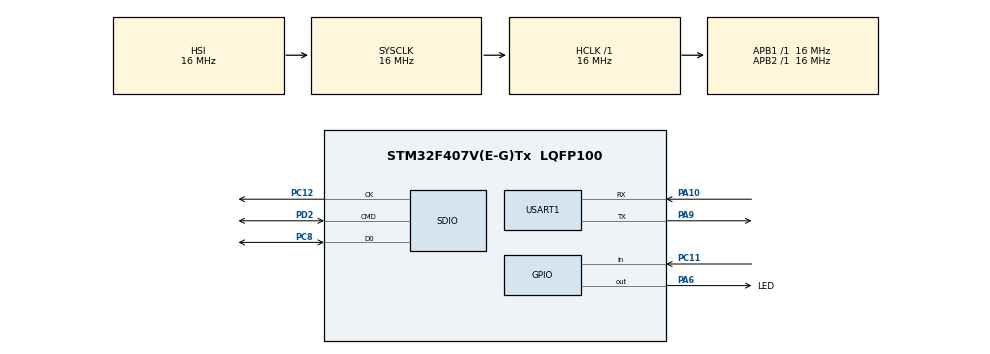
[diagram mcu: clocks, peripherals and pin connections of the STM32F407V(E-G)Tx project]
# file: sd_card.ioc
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FATFS.BSP.number=1
FATFS._FS_EXFAT=1
FATFS._MAX_SS=4096
FATFS._USE_CHMOD=1
FATFS._USE_EXPAND=1
FATFS._USE_FIND=1
FATFS._USE_FORWARD=1
FATFS._USE_LABEL=1
FATFS._USE_LFN=1
FATFS0.BSP.STBoard=false
FATFS0.BSP.api=Unknown
FATFS0.BSP.instance=PC11
FATFS0.BSP.ip=GPIO
FATFS0.BSP.mode=Input
FATFS0.BSP.name=Detect_SDIO
FATFS0.BSP.solution=PC11
Mcu.Family=STM32F4
Mcu.Name=STM32F407V(E-G)Tx
Mcu.Package=LQFP100
NVIC.PriorityGroup=NVIC_PRIORITYGROUP_4
PA10.Mode=Asynchronous
PA10.Signal=USART1_RX
PA6.GPIO_Label=LED
PA6.Signal=GPIO_Output
PA9.Mode=Asynchronous
PA9.Signal=USART1_TX
PC11.Signal=GPIO_Input
PC12.Mode=SD_1_bit
PC12.Signal=SDIO_CK
PC8.Mode=SD_1_bit
PC8.Signal=SDIO_D0
PD2.Mode=SD_1_bit
PD2.Signal=SDIO_CMD
ProjectManager.HeapSize=0x200
ProjectManager.StackSize=0x400
ProjectManager.TargetToolchain=STM32CubeIDE
RCC.AHBFreq_Value=16000000
RCC.APB1Freq_Value=16000000
RCC.APB2Freq_Value=16000000
RCC.CortexFreq_Value=16000000
RCC.HSE_VALUE=25000000
RCC.HSI_VALUE=16000000
RCC.LSE_VALUE=32768
RCC.SYSCLKFreq_VALUE=16000000
RCC.VCOOutputFreq_Value=192000000
SDIO.ClockDiv=10
USART1.VirtualMode=VM_ASYNC
VP_FATFS_VS_SDIO.Mode=SDIO
board=custom

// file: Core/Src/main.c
/* USER CODE BEGIN Header */
/**
  ******************************************************************************
  * @file           : main.c
  * @brief          : Main program body
  ******************************************************************************
  * @attention
  *
  * Copyright (c) 2025 STMicroelectronics.
  * All rights reserved.
  *
  * This software is licensed under terms that can be found in the LICENSE file
  * in the root directory of this software component.
  * If no LICENSE file comes with this software, it is provided AS-IS.
  *
  ******************************************************************************
  */
/* USER CODE END Header */
#include "main.h"
#include "fatfs.h"

/* USER CODE BEGIN Includes */
#include <stdio.h>
#include <string.h>
/* USER CODE END Includes */

SD_HandleTypeDef hsd;

UART_HandleTypeDef huart1;

/* USER CODE BEGIN PV */
char msg[] = "A\r\n";
/* USER CODE END PV */

void SystemClock_Config(void);
static void MX_GPIO_Init(void);
static void MX_SDIO_SD_Init(void);
static void MX_USART1_UART_Init(void);
/* USER CODE BEGIN PFP */

uint8_t BSP_SD_IsDetected(void)
{
  __IO uint8_t status = SD_PRESENT;

  return status;
}

int _write(int file, char *ptr, int len)
{
	if (HAL_UART_Transmit(&huart1, (uint8_t *)ptr, len, HAL_MAX_DELAY) != HAL_OK)
		return -1;
	else
		return len;
}
/* USER CODE END PFP */

int main(void)
{

  /* MCU Configuration--------------------------------------------------------*/

  /* Reset of all peripherals, Initializes the Flash interface and the Systick. */
  HAL_Init();

  /* Configure the system clock */
  SystemClock_Config();

  /* Initialize all configured peripherals */
  MX_GPIO_Init();
  MX_SDIO_SD_Init();
  MX_USART1_UART_Init();
  MX_FATFS_Init();
  /* USER CODE BEGIN 2 */
  printf("Block Size: %lu\r\n", hsd.SdCard.BlockSize);
  printf("Block Number: %lu\r\n", hsd.SdCard.BlockNbr);
  printf("Card Size: %lu\r\n", (hsd.SdCard.BlockSize * hsd.SdCard.BlockNbr) / 1024);

  FRESULT res;
  res = f_mount(&SDFatFS, SDPath, 1);
  printf("%d\r\n", res);

  res = f_open(&SDFile, "test.txt", FA_OPEN_APPEND | FA_WRITE);
  if (res == FR_OK)
  {
	  UINT bw;
	  res = f_write(&SDFile, "test", 4, &bw);
	  if (res != FR_OK)
		  printf("Could not write to file (%d).\r\n", res);
	  f_close(&SDFile);
  }
  else
	  printf("Could not open file (%d).\r\n", res);

  /* USER CODE END 2 */

  /* Infinite loop */
  while (1)
  {

    /* USER CODE BEGIN 3 */
	HAL_GPIO_TogglePin(GPIOA, GPIO_PIN_6);
	HAL_Delay(1000);
  }
  /* USER CODE END 3 */
}

void SystemClock_Config(void)
{
  RCC_OscInitTypeDef RCC_OscInitStruct = {0};
  RCC_ClkInitTypeDef RCC_ClkInitStruct = {0};

  /** Configure the main internal regulator output voltage
  */
  __HAL_RCC_PWR_CLK_ENABLE();
  __HAL_PWR_VOLTAGESCALING_CONFIG(PWR_REGULATOR_VOLTAGE_SCALE1);

  /** Initializes the RCC Oscillators according to the specified parameters
  * in the RCC_OscInitTypeDef structure.
  */
  RCC_OscInitStruct.OscillatorType = RCC_OSCILLATORTYPE_HSI;
  RCC_OscInitStruct.HSIState = RCC_HSI_ON;
  RCC_OscInitStruct.HSICalibrationValue = RCC_HSICALIBRATION_DEFAULT;
  RCC_OscInitStruct.PLL.PLLState = RCC_PLL_ON;
  RCC_OscInitStruct.PLL.PLLSource = RCC_PLLSOURCE_HSI;
  RCC_OscInitStruct.PLL.PLLM = 16;
  RCC_OscInitStruct.PLL.PLLN = 192;
  RCC_OscInitStruct.PLL.PLLP = RCC_PLLP_DIV2;
  RCC_OscInitStruct.PLL.PLLQ = 4;
  if (HAL_RCC_OscConfig(&RCC_OscInitStruct) != HAL_OK)
  {
    Error_Handler();
  }

  /** Initializes the CPU, AHB and APB buses clocks
  */
  RCC_ClkInitStruct.ClockType = RCC_CLOCKTYPE_HCLK|RCC_CLOCKTYPE_SYSCLK
                              |RCC_CLOCKTYPE_PCLK1|RCC_CLOCKTYPE_PCLK2;
  RCC_ClkInitStruct.SYSCLKSource = RCC_SYSCLKSOURCE_HSI;
  RCC_ClkInitStruct.AHBCLKDivider = RCC_SYSCLK_DIV1;
  RCC_ClkInitStruct.APB1CLKDivider = RCC_HCLK_DIV1;
  RCC_ClkInitStruct.APB2CLKDivider = RCC_HCLK_DIV1;

  if (HAL_RCC_ClockConfig(&RCC_ClkInitStruct, FLASH_LATENCY_0) != HAL_OK)
  {
    Error_Handler();
  }
}

static void MX_SDIO_SD_Init(void)
{

  hsd.Instance = SDIO;
  hsd.Init.ClockEdge = SDIO_CLOCK_EDGE_RISING;
  hsd.Init.ClockBypass = SDIO_CLOCK_BYPASS_DISABLE;
  hsd.Init.ClockPowerSave = SDIO_CLOCK_POWER_SAVE_DISABLE;
  hsd.Init.BusWide = SDIO_BUS_WIDE_1B;
  hsd.Init.HardwareFlowControl = SDIO_HARDWARE_FLOW_CONTROL_DISABLE;
  hsd.Init.ClockDiv = 10;
  /* USER CODE BEGIN SDIO_Init 2 */
  if (HAL_SD_Init(&hsd) != HAL_OK)
  {
	  Error_Handler();
  }

  if (HAL_SD_ConfigWideBusOperation(&hsd, SDIO_BUS_WIDE_4B) != HAL_OK)
  {
	  Error_Handler();
  }
  /* USER CODE END SDIO_Init 2 */

}

static void MX_USART1_UART_Init(void)
{

  huart1.Instance = USART1;
  huart1.Init.BaudRate = 115200;
  huart1.Init.WordLength = UART_WORDLENGTH_8B;
  huart1.Init.StopBits = UART_STOPBITS_1;
  huart1.Init.Parity = UART_PARITY_NONE;
  huart1.Init.Mode = UART_MODE_TX_RX;
  huart1.Init.HwFlowCtl = UART_HWCONTROL_NONE;
  huart1.Init.OverSampling = UART_OVERSAMPLING_16;
  if (HAL_UART_Init(&huart1) != HAL_OK)
  {
    Error_Handler();
  }

}

static void MX_GPIO_Init(void)
{
  GPIO_InitTypeDef GPIO_InitStruct = {0};

  /* GPIO Ports Clock Enable */
  __HAL_RCC_GPIOA_CLK_ENABLE();
  __HAL_RCC_GPIOC_CLK_ENABLE();
  __HAL_RCC_GPIOD_CLK_ENABLE();

  /*Configure GPIO pin Output Level */
  HAL_GPIO_WritePin(LED_GPIO_Port, LED_Pin, GPIO_PIN_RESET);

  /*Configure GPIO pin : LED_Pin */
  GPIO_InitStruct.Pin = LED_Pin;
  GPIO_InitStruct.Mode = GPIO_MODE_OUTPUT_PP;
  GPIO_InitStruct.Pull = GPIO_NOPULL;
  GPIO_InitStruct.Speed = GPIO_SPEED_FREQ_LOW;
  HAL_GPIO_Init(LED_GPIO_Port, &GPIO_InitStruct);

  /*Configure GPIO pin : PC11 */
  GPIO_InitStruct.Pin = GPIO_PIN_11;
  GPIO_InitStruct.Mode = GPIO_MODE_INPUT;
  GPIO_InitStruct.Pull = GPIO_NOPULL;
  HAL_GPIO_Init(GPIOC, &GPIO_InitStruct);

}

void Error_Handler(void)
{
  __disable_irq();
  while (1)
  {
  }
}
